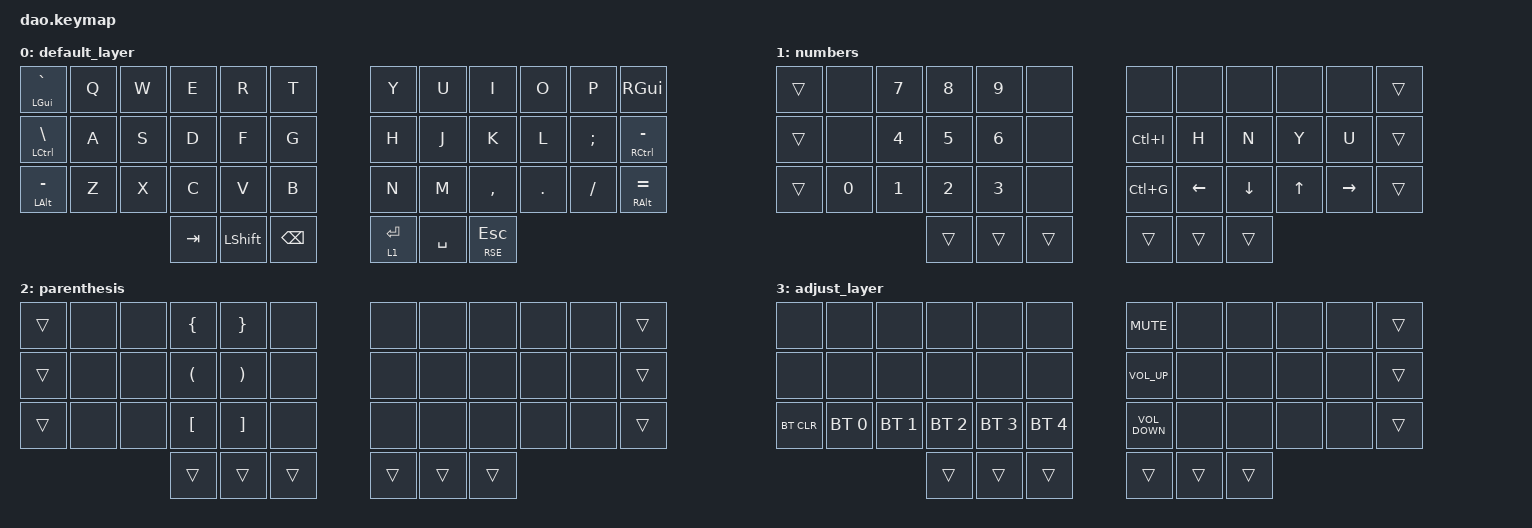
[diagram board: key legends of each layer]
/*
 * Copyright (c) 2021 Rafael Yumagulov
 *
 * SPDX-License-Identifier: MIT
 */

#include <behaviors.dtsi>
#include <dt-bindings/zmk/bt.h>
#include <dt-bindings/zmk/keys.h>

#define DEF 0
#define LWR 1
#define RSE 2
#define ADJ 3

&lt { quick_tap_ms = <200>; };

&mt { quick_tap_ms = <200>; };

/ {
    chosen {
        zmk,matrix_transform = &default_transform;

        // zmk,matrix_transform = &extra_keys_transform;
    };
};

/ {
    combos {
        compatible = "zmk,combos";

        gotoadjust {
            bindings = <&tog 3>;
            key-positions = <11 23 35>;
            require-prior-idle-ms = <500>;
            layers = <0>;
            timeout-ms = <50>;
        };

        copy {
            bindings = <&kp LG(K_COPY)>;
            key-positions = <3 4>;
        };

        cut {
            bindings = <&kp K_CUT>;
            key-positions = <15 16>;
        };

        paste {
            bindings = <&kp K_PASTE>;
            key-positions = <27 28>;
        };
    };

    keymap {
        compatible = "zmk,keymap";

        default_layer {
            bindings = <
&mt LEFT_GUI GRAVE   &kp Q  &kp W  &kp E    &kp R           &kp T          &kp Y        &kp U      &kp I           &kp O    &kp P     &kp RIGHT_GUI
&mt LCTRL BACKSLASH  &kp A  &kp S  &kp D    &kp F           &kp G          &kp H        &kp J      &kp K           &kp L    &kp SEMI  &mt RCTRL MINUS
&mt LEFT_ALT MINUS   &kp Z  &kp X  &kp C    &kp V           &kp B          &kp N        &kp M      &kp COMMA       &kp DOT  &kp FSLH  &mt RIGHT_ALT EQUAL
                                   &kp TAB  &kp LEFT_SHIFT  &kp BACKSPACE  &lt 1 ENTER  &kp SPACE  &lt RSE ESCAPE
            >;
        };

        numbers {
            bindings = <
&trans  &none   &kp NUMBER_7  &kp N8  &kp N9  &none   &none      &none     &none     &none   &none      &trans
&trans  &none   &kp N4        &kp N5  &kp N6  &none   &kp LC(I)  &kp H     &kp N     &kp Y   &kp U      &trans
&trans  &kp N0  &kp N1        &kp N2  &kp N3  &none   &kp LC(G)  &kp LEFT  &kp DOWN  &kp UP  &kp RIGHT  &trans
                              &trans  &trans  &trans  &trans     &trans    &trans
            >;
        };

        parenthesis {
            bindings = <
&trans  &none  &none  &kp LEFT_BRACE        &kp RIGHT_BRACE        &none   &none   &none   &none   &none  &none  &trans
&trans  &none  &none  &kp LEFT_PARENTHESIS  &kp RIGHT_PARENTHESIS  &none   &none   &none   &none   &none  &none  &trans
&trans  &none  &none  &kp LBKT              &kp RBKT               &none   &none   &none   &none   &none  &none  &trans
                      &trans                &trans                 &trans  &trans  &trans  &trans
            >;
        };

        adjust_layer {
            bindings = <
&none       &none         &none         &none         &none         &none         &kp K_MUTE         &none   &none   &none  &none  &trans
&none       &none         &none         &none         &none         &none         &kp C_VOLUME_UP    &none   &none   &none  &none  &trans
&bt BT_CLR  &bt BT_SEL 0  &bt BT_SEL 1  &bt BT_SEL 2  &bt BT_SEL 3  &bt BT_SEL 4  &kp C_VOLUME_DOWN  &none   &none   &none  &none  &trans
                                        &trans        &trans        &trans        &trans             &trans  &trans
            >;
        };
    };
};
